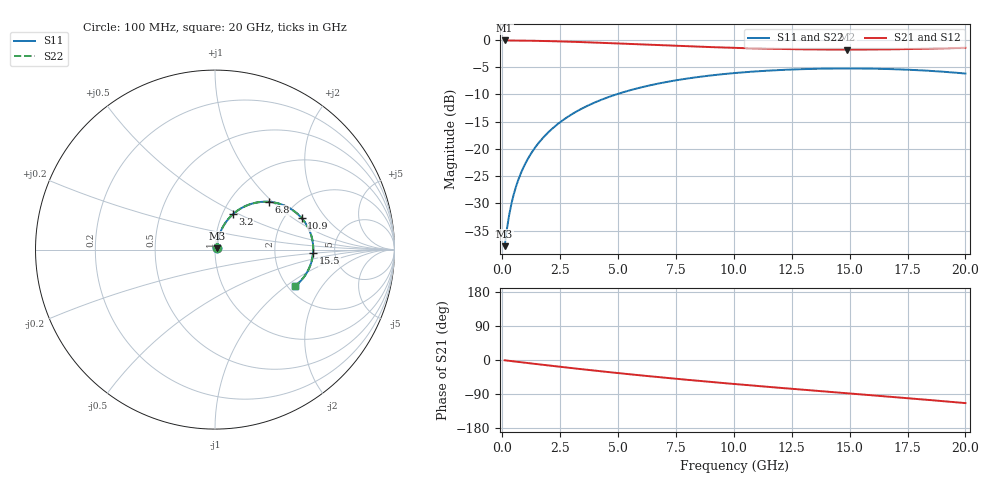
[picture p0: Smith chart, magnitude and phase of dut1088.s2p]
! Touchstone file exported from HFSS 2026.1.0
!  File:  C:/ffzhzh/LocalFiles/Ansys_Project_Files/temp_train_TSV_RDL_1088_1783301570_30076.aedt
!  Generated:  09:44:10 AM Jul  6, 2026
!  Design:  TSV_RDL
!  Project:  temp_train_TSV_RDL_1088_1783301570_30076
! Variables:
!  h_bsmrdl = 5.06um
!  h_ox = 20um
!  h_rdl = 5um
!  h_sub = 71.5um
!  h_tmrdl = 3.95um
!  h_tsv = 71.5um
!  h_via = 3um
!  l_bsmrdl = 284.63um
!  l_sub = 1965.14um
!  l_tmrdl = 152.08um
!  m_sub = 200um
!  pitch = 43.76um
!  r_tsv = 4.54um
!  s_tmrdl = 10um
!  w_bsmrdl = 17.11um
!  w_sub = 500um
!  w_tmrdl = 17.2um
!  x_tsv_center1 = 160.68um
!  x_tsv_center2 = 462.42um
!  x_tsv_center3 = 631.7um
!  x_tsv_center4 = 933.44um
!  x_tsv_center5 = 1102.72um
!  x_tsv_center6 = 1404.46um
# GHz S MA R 50.000000
! Terminal data exported
! Port[1] = TM_RDL1_1_T1
! Port[2] = TM_RDL5_1_T1
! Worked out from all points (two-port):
!   200 points, 100 MHz to 20 GHz, reference 50 ohm
!   highest |S21| = -0.09 dB at 100 MHz (marker M1); lowest = -1.8 dB at 14.9 GHz (marker M2)
!   |S21| within 3 dB of the highest: start of sweep to end of sweep
!   lowest |S11| = -37.9 dB at 100 MHz (marker M3), VSWR 1.03, Z = 51 + j0.769 ohm
!   |S11| at or under -10 dB: start of sweep to 4.92 GHz
!   |S22| runs from -37.9 to -5.2 dB; largest |S21 - S12| = 8.4e-14
!   S11 on the Smith chart (normalised r, x): 100 MHz: 1.02, +0.02; 3.2 GHz: 1.12, +0.46; 6.8 GHz: 1.49, +0.95; 10.9 GHz: 2.47, +1.18; 15.5 GHz: 3.40, -0.20; 20 GHz: 2.20, -1.17
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0.1  0.01279 36.1  0.9897 -0.8  0.9897 -0.8  0.01279 36.1
! Gamma 0 0 0 0
! Port Impedance 50 0 50 0
0.2  0.01845 53.8  0.9894 -1.5  0.9894 -1.5  0.01845 53.8
0.3  0.02496 62.2  0.989 -2.2  0.989 -2.2  0.02496 62.2
0.5  0.03863 69.5  0.9881 -3.7  0.9881 -3.7  0.03863 69.5
0.7  0.05259 72.3  0.9872 -5.1  0.9872 -5.1  0.05259 72.3
1  0.07368 73.4  0.9855 -7.3  0.9855 -7.3  0.07368 73.4
1.4  0.1017 72.8  0.9825 -10.2  0.9825 -10.2  0.1017 72.8
1.9  0.1361 70.7  0.9776 -13.7  0.9776 -13.7  0.1361 70.7
2.5  0.1759 67.4  0.9702 -17.9  0.9702 -17.9  0.1759 67.4
3.2  0.2201 63.2  0.9599 -22.7  0.9599 -22.7  0.2201 63.2
3.5  0.2382 61.4  0.9551 -24.7  0.9551 -24.7  0.2382 61.4
5  0.3203 52.2  0.9288 -34.5  0.9288 -34.5  0.3203 52.2
6.8  0.4003 41.7  0.8959 -45.5  0.8959 -45.5  0.4003 41.7
8.4  0.4552 32.9  0.8691 -54.6  0.8691 -54.6  0.4552 32.9
10.1  0.4984 24.0  0.8455 -63.7  0.8455 -63.7  0.4984 24.0
10.9  0.5137 20.0  0.8365 -67.9  0.8365 -67.9  0.5137 20.0
13.4  0.5428 7.9  0.8187 -80.5  0.8187 -80.5  0.5428 7.8
14.9  0.5475 0.7  0.8157 -87.8  0.8157 -87.8  0.5475 0.7
15.5  0.5467 -2.1  0.8162 -90.8  0.8162 -90.8  0.5467 -2.1
16.7  0.5407 -7.9  0.8199 -96.7  0.8199 -96.7  0.5408 -7.9
18.3  0.5231 -15.6  0.8305 -104.8  0.8305 -104.8  0.5232 -15.7
20  0.4916 -24.2  0.8481 -113.7  0.8481 -113.7  0.4916 -24.2
